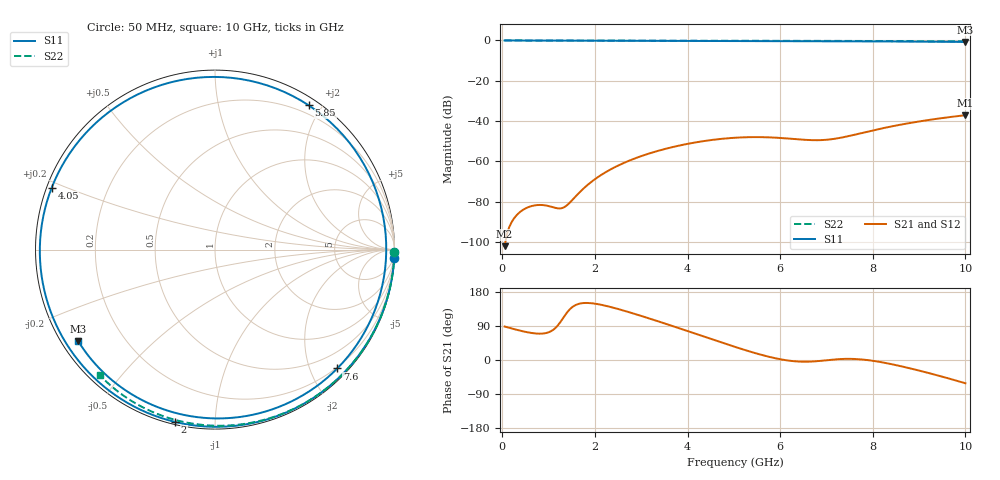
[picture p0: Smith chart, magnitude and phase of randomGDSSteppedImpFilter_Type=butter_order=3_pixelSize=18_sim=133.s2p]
! freq	dB(S11)	phase(S11)	dB(S12)	phase(S12)
!  dB(S21)	phase(S21)	dB(S22)	phase(S22)
!S-par simulation data
#  GHz  S  DB  R 50
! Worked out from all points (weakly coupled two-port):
!   200 points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, 50 MHz to 10 GHz, reference 50 ohm
!   highest |S21| = -37.06 dB at 10 GHz (marker M1); lowest = -102.0 dB at 50 MHz (marker M2)
!   lowest |S11| = -0.8 dB at 10 GHz (marker M3), VSWR 23.07, Z = 2.37 - j15.1 ohm
!   |S11| at or under -10 dB: nowhere
!   |S22| runs from -0.4 to 0.0 dB; largest |S21 - S12| = 0
!   S11 on the Smith chart (normalised r, x): 50 MHz: 0, -42; 2 GHz: 0.01, -0.80; 4.05 GHz: 0.01, +0.18; 5.85 GHz: 0.09, +1.84; 7.6 GHz: 0.18, -2.45; 10 GHz: 0.05, -0.30
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0.05  -0.00 -2.7  -101.99 88.3  -101.99 88.3  -0.00 -0.8
0.65  -0.05 -34.9  -82.00 71.0  -82.00 71.0  -0.01 -9.9
1.05  -0.07 -55.8  -82.38 75.9  -82.38 75.9  -0.02 -16.0
1.45  -0.09 -76.1  -80.58 132.9  -80.58 132.9  -0.03 -22.0
1.75  -0.11 -90.9  -73.49 150.2  -73.49 150.2  -0.03 -26.4
2  -0.13 -103.0  -68.79 148.7  -68.79 148.7  -0.04 -30.1
2.35  -0.15 -119.6  -63.79 139.5  -63.79 139.5  -0.05 -35.3
2.75  -0.17 -138.4  -59.51 125.7  -59.51 125.7  -0.05 -41.1
3.4  -0.20 -169.0  -54.49 100.7  -54.49 100.7  -0.07 -50.3
4.05  -0.24 159.2  -51.05 74.4  -51.05 74.4  -0.08 -59.4
4.55  -0.28 133.1  -49.26 53.8  -49.26 53.8  -0.10 -66.2
5.05  -0.32 105.1  -48.20 33.6  -48.20 33.6  -0.11 -72.8
5.45  -0.34 81.4  -47.91 18.6  -47.91 18.6  -0.13 -78.0
5.85  -0.37 57.0  -48.13 5.8  -48.13 5.8  -0.14 -83.2
6.3  -0.39 29.2  -48.86 -3.2  -48.86 -3.2  -0.16 -88.8
6.7  -0.40 5.2  -49.43 -4.0  -49.43 -4.0  -0.18 -93.8
7.1  -0.42 -17.7  -48.99 0.6  -48.99 0.6  -0.20 -98.7
7.6  -0.44 -44.2  -46.78 2.7  -46.78 2.7  -0.23 -104.7
7.95  -0.47 -61.2  -44.88 -1.2  -44.88 -1.2  -0.26 -108.8
8.35  -0.51 -79.3  -42.87 -9.6  -42.87 -9.6  -0.29 -113.5
9.15  -0.60 -112.3  -39.62 -32.6  -39.62 -32.6  -0.36 -122.8
10  -0.75 -146.3  -37.06 -61.4  -37.06 -61.4  -0.45 -132.5
